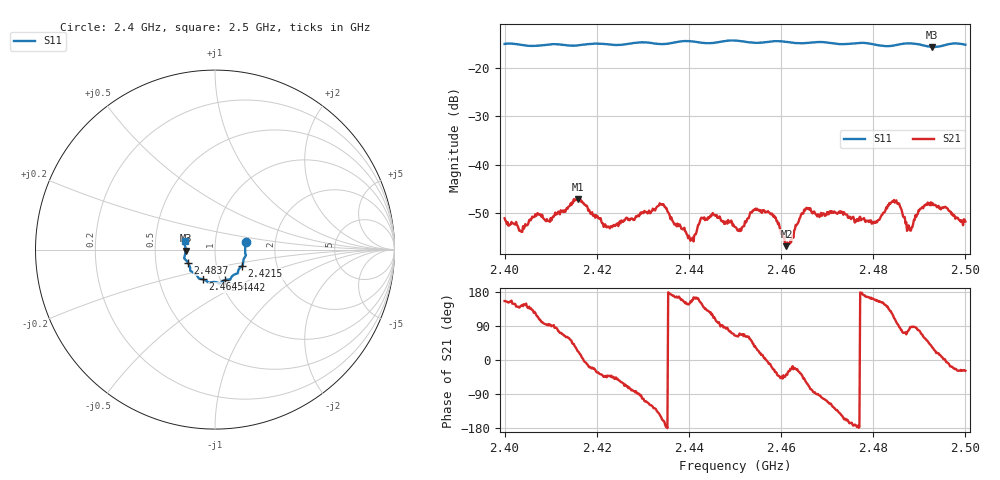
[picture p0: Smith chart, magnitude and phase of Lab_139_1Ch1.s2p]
# Hz S RI R 50
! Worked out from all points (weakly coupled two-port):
!   601 points, 2.4 GHz to 2.5 GHz, reference 50 ohm
!   highest |S21| = -47.11 dB at 2.416 GHz (marker M1); lowest = -56.8 dB at 2.4612 GHz (marker M2)
!   lowest |S11| = -15.7 dB at 2.4928 GHz (marker M3), VSWR 1.39, Z = 36 - j0.388 ohm
!   |S11| at or under -10 dB: start of sweep to end of sweep
!   S12 and S22 are empty: the file has one direction only
!   S11 on the Smith chart (normalised r, x): 2.4 GHz: 1.41, +0.12; 2.4215 GHz: 1.33, -0.25; 2.4442 GHz: 1.05, -0.37; 2.4645 GHz: 0.83, -0.29; 2.4837 GHz: 0.73, -0.11; 2.5 GHz: 0.71, +0.07
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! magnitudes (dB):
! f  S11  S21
! 2.4 GHz  -15.1  -51.1
! 2.4037 GHz  -15.3  -53.7
! 2.416 GHz  -15.4  -47.1
! 2.4167 GHz  -15.3  -47.7
! 2.4215 GHz  -15.1  -52.8
! 2.4333 GHz  -15.1  -48.5
! 2.4405 GHz  -14.5  -55.5
! 2.4442 GHz  -15.0  -50.9
! 2.45 GHz  -14.4  -52.9
! 2.4567 GHz  -14.7  -49.7
! 2.459 GHz  -14.5  -51.6
! 2.4612 GHz  -14.7  -56.8
! 2.4645 GHz  -15.0  -50.0
! 2.4667 GHz  -14.8  -49.9
! 2.4802 GHz  -15.2  -51.8
! 2.4833 GHz  -15.6  -48.5
! 2.4837 GHz  -15.5  -48.1
! 2.4855 GHz  -15.2  -47.9
! 2.4878 GHz  -15.0  -53.2
! 2.4903 GHz  -15.3  -49.1
! 2.4928 GHz  -15.7  -47.9
! 2.5 GHz  -15.3  -51.7
